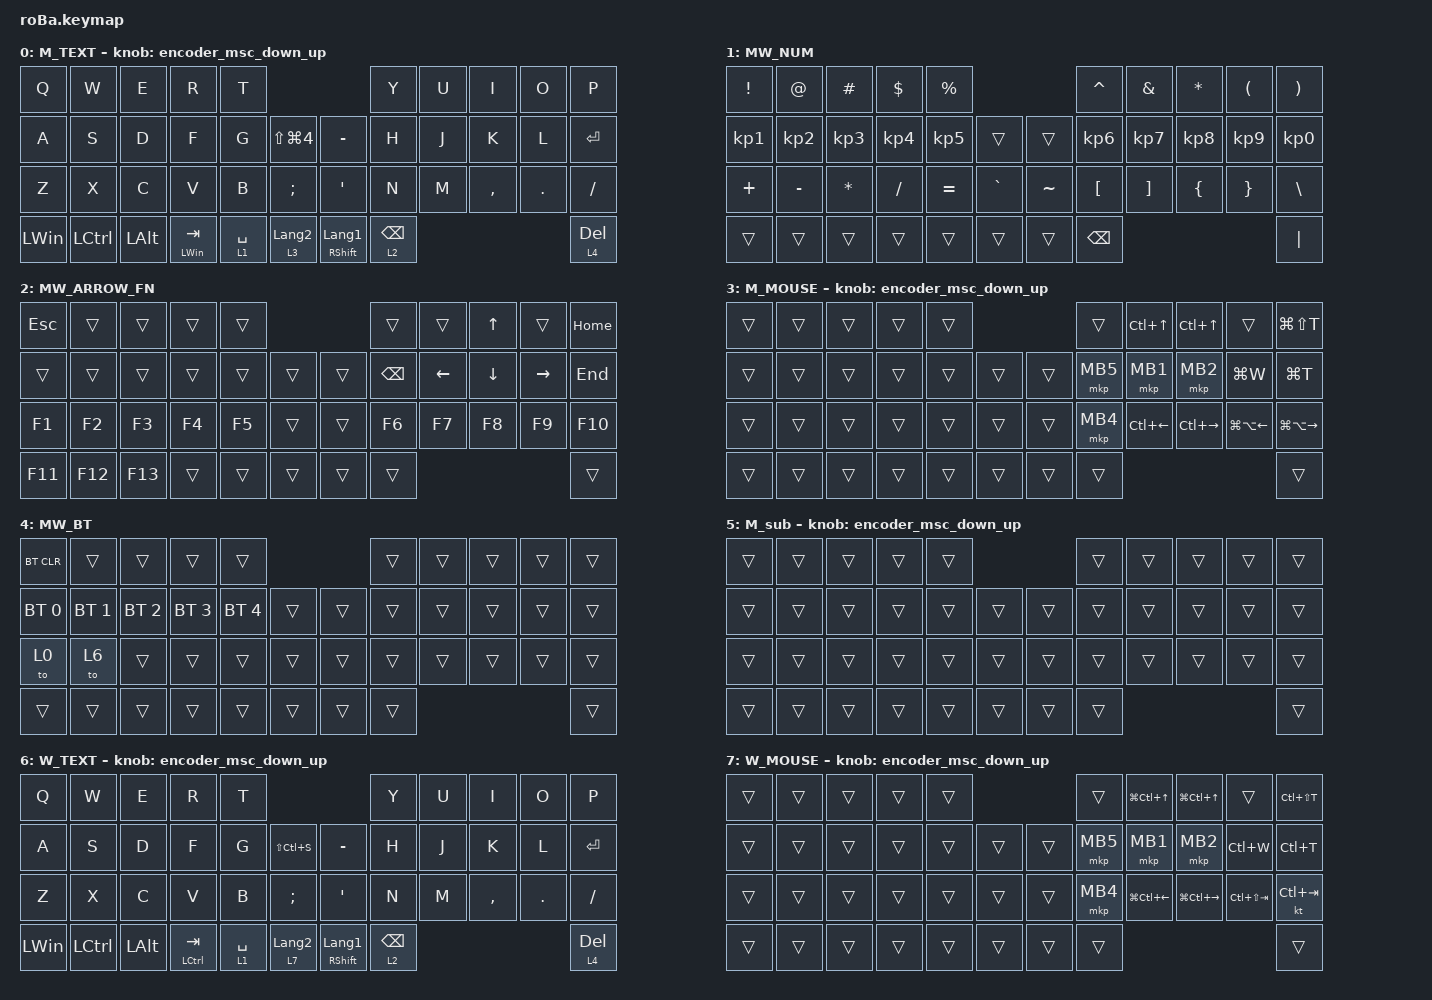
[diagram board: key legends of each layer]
#include <behaviors.dtsi>
#include <dt-bindings/zmk/bt.h>
#include <dt-bindings/zmk/keys.h>
#include <dt-bindings/zmk/pointing.h>

#define ZMK_POINTING_DEFAULT_SCRL_VAL 80
#define MOUSE 4
#define SCROLL 5
#define NUM 6

&mt {
    flavor = "balanced";
    quick-tap-ms = <0>;
};

/ {
    combos {
        compatible = "zmk,combos";

        mouse1 {
            bindings = <&mkp MB1>;
            key-positions = <19 18>;
        };

        mouse2 {
            bindings = <&mkp MB2>;
            key-positions = <20 19>;
        };

        mouse5 {
            bindings = <&mkp MB5>;
            key-positions = <18 17>;
        };

        mouse4 {
            bindings = <&mkp MB4>;
            key-positions = <30 29>;
        };
    };

    macros {
        to_layer_0: to_layer_0 {
            compatible = "zmk,behavior-macro-one-param";
            #binding-cells = <1>;
            bindings = <&to 1 &macro_param_1to1 &kp MACRO_PLACEHOLDER>;
            label = "TO_LAYER_0";
        };
    };

    behaviors {
        encoder_msc_down_up: encoder_msc_down_up {
            compatible = "zmk,behavior-sensor-rotate";
            label = "ENCODER_MSC_DOWN_UP";
            #sensor-binding-cells = <0>;
            bindings = <&msc SCRL_UP>, <&msc SCRL_DOWN>;

            tap-ms = <20>;
        };

        lt_to_layer_0: lt_to_layer_0 {
            compatible = "zmk,behavior-hold-tap";
            label = "LAYER_TAP_TO_0";
            bindings = <&mo>, <&to_layer_0>;

            #binding-cells = <2>;
            tapping-term-ms = <200>;
        };
    };

    keymap {
        compatible = "zmk,keymap";

        M_TEXT {
            bindings = <
&kp Q         &kp W             &kp E         &kp R             &kp T                                                              &kp Y            &kp U  &kp I      &kp O    &kp P
&kp A         &kp S             &kp D         &kp F             &kp G        &kp LS(LG(NUMBER_4))      &kp MINUS                   &kp H            &kp J  &kp K      &kp L    &kp ENTER
&kp Z         &kp X             &kp C         &kp V             &kp B        &kp SEMICOLON             &kp SQT                     &kp N            &kp M  &kp COMMA  &kp DOT  &kp SLASH
&kp LEFT_WIN  &kp LEFT_CONTROL  &kp LEFT_ALT  &mt LEFT_WIN TAB  &lt 1 SPACE  &lt 3 LANGUAGE_2          &mt RIGHT_SHIFT LANGUAGE_1  &lt 2 BACKSPACE                             &lt 4 DELETE
            >;

            sensor-bindings = <&encoder_msc_down_up>;
        };

        MW_NUM {
            bindings = <
&kp EXCLAMATION  &kp AT_SIGN      &kp HASH         &kp DOLLAR       &kp PERCENT                                &kp CARET         &kp AMPERSAND      &kp ASTERISK     &kp LEFT_PARENTHESIS  &kp RIGHT_PARENTHESIS
&kp KP_NUMBER_1  &kp KP_NUMBER_2  &kp KP_NUMBER_3  &kp KP_NUMBER_4  &kp KP_NUMBER_5  &trans         &trans     &kp KP_NUMBER_6   &kp KP_NUMBER_7    &kp KP_NUMBER_8  &kp KP_NUMBER_9       &kp KP_NUMBER_0
&kp PLUS         &kp MINUS        &kp ASTERISK     &kp SLASH        &kp EQUAL        &kp GRAVE      &kp TILDE  &kp LEFT_BRACKET  &kp RIGHT_BRACKET  &kp LEFT_BRACE   &kp RIGHT_BRACE       &kp BACKSLASH
&trans           &trans           &trans           &trans           &trans           &trans         &trans     &kp BACKSPACE                                                               &kp PIPE
            >;
        };

        MW_ARROW_FN {
            bindings = <
&kp ESCAPE  &trans   &trans   &trans  &trans                      &trans         &trans          &kp UP_ARROW    &trans           &kp HOME
&trans      &trans   &trans   &trans  &trans  &trans      &trans  &kp BACKSPACE  &kp LEFT_ARROW  &kp DOWN_ARROW  &kp RIGHT_ARROW  &kp END
&kp F1      &kp F2   &kp F3   &kp F4  &kp F5  &trans      &trans  &kp F6         &kp F7          &kp F8          &kp F9           &kp F10
&kp F11     &kp F12  &kp F13  &trans  &trans  &trans      &trans  &trans                                                          &trans
            >;
        };

        M_MOUSE {
            bindings = <
&trans  &trans  &trans  &trans  &trans                      &trans    &kp LC(UP_ARROW)    &kp LC(UP_ARROW)     &trans                  &kp LG(LS(T))
&trans  &trans  &trans  &trans  &trans  &trans      &trans  &mkp MB5  &mkp MB1            &mkp MB2             &kp LG(W)               &kp LG(T)
&trans  &trans  &trans  &trans  &trans  &trans      &trans  &mkp MB4  &kp LC(LEFT_ARROW)  &kp LC(RIGHT_ARROW)  &kp LG(LA(LEFT_ARROW))  &kp LG(LA(RIGHT_ARROW))
&trans  &trans  &trans  &trans  &trans  &trans      &trans  &trans                                                                     &trans
            >;

            sensor-bindings = <&encoder_msc_down_up>;
        };

        MW_BT {
            bindings = <
&bt BT_CLR    &trans        &trans        &trans        &trans                            &trans  &trans  &trans  &trans  &trans
&bt BT_SEL 0  &bt BT_SEL 1  &bt BT_SEL 2  &bt BT_SEL 3  &bt BT_SEL 4  &trans      &trans  &trans  &trans  &trans  &trans  &trans
&to 0         &to 6         &trans        &trans        &trans        &trans      &trans  &trans  &trans  &trans  &trans  &trans
&trans        &trans        &trans        &trans        &trans        &trans      &trans  &trans                          &trans
            >;
        };

        M_sub {
            bindings = <
&trans  &trans  &trans  &trans  &trans                      &trans  &trans  &trans  &trans  &trans
&trans  &trans  &trans  &trans  &trans  &trans      &trans  &trans  &trans  &trans  &trans  &trans
&trans  &trans  &trans  &trans  &trans  &trans      &trans  &trans  &trans  &trans  &trans  &trans
&trans  &trans  &trans  &trans  &trans  &trans      &trans  &trans                          &trans
            >;

            sensor-bindings = <&encoder_msc_down_up>;
        };

        W_TEXT {
            bindings = <
&kp Q         &kp W             &kp E     &kp R                 &kp T                                                          &kp Y            &kp U  &kp I      &kp O    &kp P
&kp A         &kp S             &kp D     &kp F                 &kp G        &kp LS(LC(S))         &kp MINUS                   &kp H            &kp J  &kp K      &kp L    &kp ENTER
&kp Z         &kp X             &kp C     &kp V                 &kp B        &kp SEMI              &kp APOS                    &kp N            &kp M  &kp COMMA  &kp DOT  &kp SLASH
&kp LEFT_WIN  &kp LEFT_CONTROL  &kp LALT  &mt LEFT_CONTROL TAB  &lt 1 SPACE  &lt 7 LANGUAGE_2      &mt RIGHT_SHIFT LANGUAGE_1  &lt 2 BACKSPACE                             &lt 4 DELETE
            >;

            sensor-bindings = <&encoder_msc_down_up>;
        };

        W_MOUSE {
            bindings = <
&trans  &trans  &trans  &trans  &trans                      &trans    &kp LG(LC(UP_ARROW))    &kp LG(LC(UP_ARROW))     &trans           &kp LC(LS(T))
&trans  &trans  &trans  &trans  &trans  &trans      &trans  &mkp MB5  &mkp MB1                &mkp MB2                 &kp LC(W)        &kp LC(T)
&trans  &trans  &trans  &trans  &trans  &trans      &trans  &mkp MB4  &kp LG(LC(LEFT_ARROW))  &kp LG(LC(RIGHT_ARROW))  &kp LC(LS(TAB))  &kt LC(TAB)
&trans  &trans  &trans  &trans  &trans  &trans      &trans  &trans                                                                      &trans
            >;

            sensor-bindings = <&encoder_msc_down_up>;
        };
    };
};
